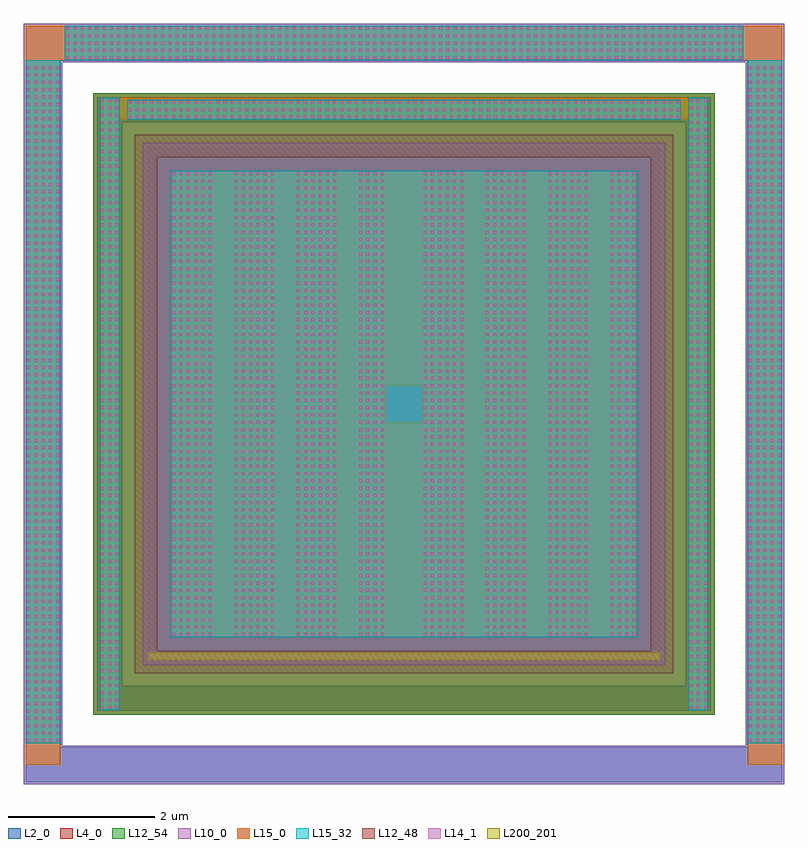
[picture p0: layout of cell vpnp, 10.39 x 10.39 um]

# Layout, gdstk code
import gdstk
lib = gdstk.Library(unit=1e-6, precision=1e-09)
def R(c, l, rs):  # rectangles x0, y0, x1, y1
    for r in rs: c.add(gdstk.rectangle(r[:2], r[2:], *l))
def A(c, l, x, y, w, h, nx, ny, dx, dy):  # array of equal rectangles
    R(c, l, [(x+i*dx, y+j*dy, x+i*dx+w, y+j*dy+h) for i in range(nx) for j in range(ny)])
L2_0 = (2, 0)
L4_0 = (4, 0)
L10_0 = (10, 0)
L12_48 = (12, 48)
L12_54 = (12, 54)
L14_1 = (14, 1)
L15_0 = (15, 0)
L15_32 = (15, 32)
L200_201 = (200, 201)

vpnp = lib.new_cell('vpnp')
R(vpnp, L2_0, [(-11.679,-3.709,-1.327,-3.229), (-11.679,-3.229,-11.199,6.163), (-1.807,-3.229,-1.327,6.163), (-10.699,-2.729,-2.307,-2.389), (-10.699,-2.389,-10.359,5.323), (-2.647,-2.389,-2.307,5.323), (-10.003,-2.033,-3.003,4.967), (-10.699,5.323,-2.307,5.663), (-11.679,6.163,-1.327,6.643)])
R(vpnp, L4_0, [(-10.755,-2.785,-2.251,5.719)])
R(vpnp, L10_0, [(-11.7,-3.73,-1.306,-3.208), (-11.7,-3.208,-11.178,6.142), (-1.828,-3.208,-1.306,6.142), (-10.073,-2.103,-2.933,5.037), (-11.7,6.142,-1.306,6.664)])
R(vpnp, L12_48, [(-10.184,-2.214,-2.822,-1.908), (-10.184,-1.908,-9.878,4.842), (-3.128,-1.908,-2.822,4.842), (-10.184,4.842,-2.822,5.148)])
R(vpnp, L12_54, [(-10.755,-2.785,-2.251,5.719)])
A(vpnp, L14_1, -11.659, -3.153, 0.04, 0.04, 5, 93, 0.1, 0.1)
A(vpnp, L14_1, -1.787, -3.153, 0.04, 0.04, 5, 93, 0.1, 0.1)
A(vpnp, L14_1, -10.649, -2.703, 0.04, 0.04, 3, 84, 0.1, 0.1)
A(vpnp, L14_1, -2.597, -2.703, 0.04, 0.04, 3, 84, 0.1, 0.1)
A(vpnp, L14_1, -9.673, -1.703, 0.04, 0.04, 6, 64, 0.1, 0.1)
A(vpnp, L14_1, -8.821, -1.703, 0.04, 0.04, 6, 64, 0.1, 0.1)
A(vpnp, L14_1, -7.969, -1.703, 0.04, 0.04, 6, 64, 0.1, 0.1)
A(vpnp, L14_1, -7.117, -1.703, 0.04, 0.04, 4, 64, 0.1, 0.1)
A(vpnp, L14_1, -6.235, -1.703, 0.04, 0.04, 6, 64, 0.1, 0.1)
A(vpnp, L14_1, -5.383, -1.703, 0.04, 0.04, 6, 64, 0.1, 0.1)
A(vpnp, L14_1, -4.531, -1.703, 0.04, 0.04, 6, 64, 0.1, 0.1)
A(vpnp, L14_1, -3.679, -1.703, 0.04, 0.04, 4, 64, 0.1, 0.1)
A(vpnp, L14_1, -10.273, 5.373, 0.04, 0.04, 76, 3, 0.1, 0.1)
A(vpnp, L14_1, -11.123, 6.183, 0.04, 0.04, 93, 5, 0.1, 0.1)
R(vpnp, L15_0, [(-11.677,-3.469,-11.201,6.641), (-1.805,-3.469,-1.329,6.641), (-10.667,-2.721,-10.391,5.655), (-2.615,-2.721,-2.339,5.655), (-9.691,-1.721,-3.315,1.217), (-9.691,1.217,-6.753,1.717), (-6.253,1.217,-3.315,1.717), (-9.691,1.717,-3.315,4.655), (-10.391,5.355,-2.615,5.655), (-11.201,6.165,-1.805,6.641)])
R(vpnp, L15_32, [(-11.677,-3.171,-11.201,6.165), (-1.805,-3.171,-1.329,6.165), (-10.667,-2.721,-10.391,5.655), (-2.615,-2.721,-2.339,5.655), (-9.691,-1.721,-3.315,4.655), (-10.291,5.355,-2.715,5.631), (-11.141,6.165,-1.865,6.641)])
R(vpnp, L200_201, [(-10.003,-2.033,-3.003,-1.933)])

lib.write_gds('vpnp.gds')
